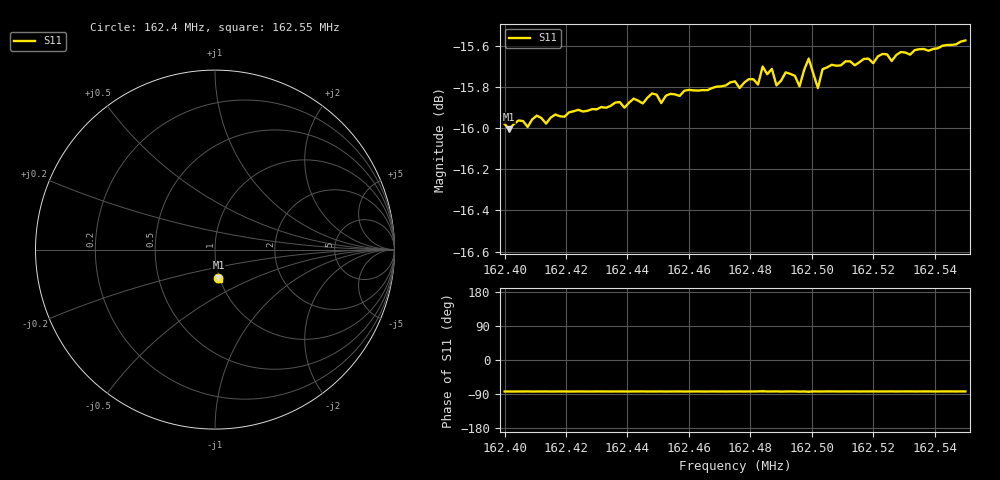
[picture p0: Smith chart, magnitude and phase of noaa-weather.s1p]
! Calibrated averaged scanner-service zoom
# Hz S RI R 50
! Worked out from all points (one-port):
!   101 points, 162.4 MHz to 162.55 MHz, reference 50 ohm
!   lowest |S11| = -16.0 dB at 162.4015 MHz (marker M1), VSWR 1.38, Z = 49.4 - j15.9 ohm
!   |S11| at or under -10 dB: start of sweep to end of sweep
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1.624e8  0.0192 -0.1577
1.624015e8  0.0191 -0.1572
1.624045e8  0.0192 -0.158
1.624075e8  0.0195 -0.1574
1.624105e8  0.0192 -0.1584
1.624135e8  0.0194 -0.1577
1.624195e8  0.0195 -0.1583
1.624375e8  0.0194 -0.1596
1.62439e8  0.0196 -0.1591
1.62448e8  0.0195 -0.1604
1.62457e8  0.0198 -0.1602
1.62475e8  0.0196 -0.1615
1.624825e8  0.0201 -0.1612
1.62484e8  0.0217 -0.1626
1.624855e8  0.0198 -0.1621
1.62487e8  0.0199 -0.1626
1.624885e8  0.0204 -0.161
1.624915e8  0.0198 -0.1623
1.624945e8  0.0201 -0.162
1.62496e8  0.0186 -0.1612
1.624975e8  0.0199 -0.1625
1.62499e8  0.0176 -0.1638
1.625005e8  0.0204 -0.1621
1.62502e8  0.0195 -0.1609
1.625035e8  0.0197 -0.1626
1.625125e8  0.0201 -0.1633
1.62532e8  0.0206 -0.1639
1.6255e8  0.0205 -0.1652
